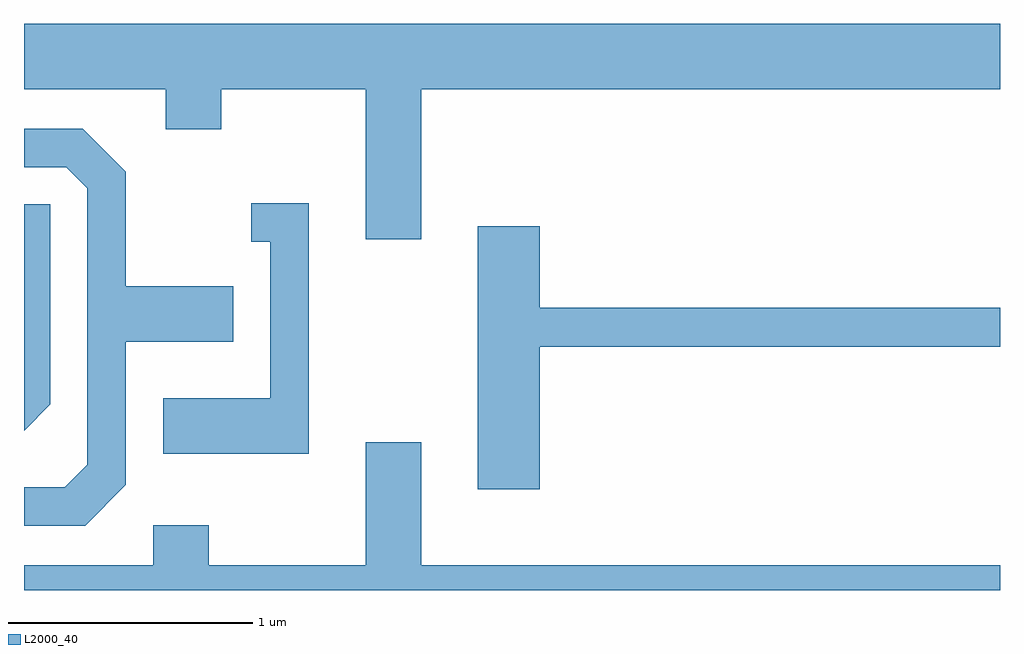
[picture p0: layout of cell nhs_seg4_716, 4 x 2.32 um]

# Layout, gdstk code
import gdstk
lib = gdstk.Library(unit=1e-6, precision=1e-09)
def P(c, l, *ps):  # polygons
    for p in ps: c.add(gdstk.Polygon(p, *l))
L2000_40 = (2000, 40)

nhs_seg4_716 = lib.new_cell('nhs_seg4_716')
P(nhs_seg4_716, L2000_40, [(207.239,1328.036),(209.611,1328.036),(209.611,1328.304),(205.611,1328.304),(205.611,1328.036),(206.191,1328.036),(206.191,1327.871),(206.419,1327.871),(206.419,1328.036),(207.011,1328.036),(207.011,1327.421),(207.239,1327.421)],
  [(206.029,1326.414),(206.029,1327.001),(206.469,1327.001),(206.469,1327.229),(206.029,1327.229),(206.029,1327.697),(205.852,1327.874),(205.611,1327.874),(205.611,1327.716),(205.784,1327.716),(205.871,1327.629),(205.871,1326.497),(205.779,1326.404),(205.611,1326.404),(205.611,1326.246),(205.862,1326.246)],
  [(206.779,1327.569),(206.543,1327.569),(206.543,1327.411),(206.621,1327.411),(206.621,1326.769),(206.181,1326.769),(206.181,1326.541),(206.779,1326.541)],
  [(205.719,1326.744),(205.719,1327.564),(205.611,1327.564),(205.611,1326.635)],
  [(207.724,1326.981),(209.611,1326.981),(209.611,1327.139),(207.724,1327.139),(207.724,1327.474),(207.471,1327.474),(207.471,1326.396),(207.724,1326.396)],
  [(209.611,1326.084),(207.239,1326.084),(207.239,1326.589),(207.011,1326.589),(207.011,1326.084),(206.369,1326.084),(206.369,1326.249),(206.141,1326.249),(206.141,1326.084),(205.611,1326.084),(205.611,1325.982),(209.611,1325.982)])

lib.write_gds('nhs_seg4_716.gds')
